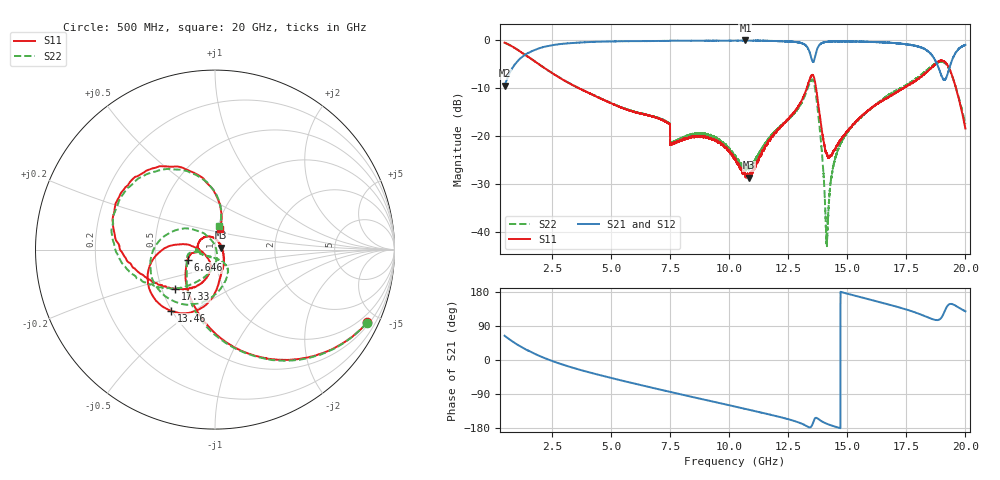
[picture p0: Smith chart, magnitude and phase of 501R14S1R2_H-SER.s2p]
!{501R14S1R2}
!Johanson Technology Inc.
!www.johansontechnology.com
!Test Board Conditions:
!Substrate Type  RO4350B
!Substrate Thickness  20 mil
!Substrate Dk  3.66
!TL Type: GCPW
!TL Trace Width  36 mil
!TL Gap  12 mil
!Electrode orientation  Horizontal
!DUT TOPOLOGY	SERIES
!Mounting Pad LxW  26x36 mil
! Created Wed Mar 11 15:54:02 2020
# mhz S ma R 50
! 2 Port Network Data from SP1.SP block
! freq  magS11  angS11  magS21  angS21  magS12  angS12  magS22  angS22
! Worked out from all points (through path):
!   19501 points, 500 MHz to 20 GHz, reference 50 ohm
!   highest |S21| = -0.07 dB at 10.69 GHz (marker M1); lowest = -9.5 dB at 500 MHz (marker M2)
!   group delay of S21, straight-line fit = 40.5 ps
!   lowest |S11| = -28.6 dB at 10.83 GHz (marker M3), VSWR 1.08, Z = 53.7 + j1.15 ohm
!   |S11| at or under -10 dB: 3.643 GHz to 13.29 GHz (9.643 GHz wide, 114 % of centre); 13.68 GHz to 17.38 GHz (3.705 GHz wide, 23.9 % of centre); 19.6 GHz to end of sweep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
!   |S22| runs from -42.9 to -0.5 dB; largest |S21 - S12| = 0.02
!   S11 on the Smith chart (normalised r, x): 500 MHz: 0.62, -4.33; 6.646 GHz: 0.73, -0.09; 13.46 GHz: 0.49, -0.41; 17.33 GHz: 0.59, -0.28; 20 GHz: 1.03, +0.24
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500  0.9402 -25.5  0.3356 64.0  0.3366 64.1  0.9391 -25.6
2002  0.5504 -79.4  0.8279 10.1  0.8292 10.1  0.5497 -80.0
3750  0.3067 -116.1  0.945 -27.0  0.9458 -27.0  0.3065 -117.6
6646  0.1631 -159.4  0.9776 -71.7  0.9786 -71.7  0.1645 -162.7
7000  0.1535 -163.6  0.979 -76.9  0.9797 -76.9  0.1549 -168.4
7598  0.08228 -172.4  0.9868 -85.5  0.9874 -85.4  0.08535 -173.2
10250  0.05877 84.4  0.9879 -122.8  0.9865 -122.9  0.06302 -146.7
10690  0.03923 37.5  0.9915 -129.1  0.9862 -129.2  0.04507 -113.5
10832  0.03696 16.8  0.9892 -131.2  0.9844 -131.2  0.04571 -97.0
12891  0.1976 -84.9  0.9486 -163.5  0.9533 -163.5  0.1911 -73.6
13465  0.4198 -125.5  0.6707 -176.7  0.6727 -177.2  0.3783 -135.2
13500  0.4317 -132.9  0.6252 -173.6  0.6263 -174.2  0.3853 -145.1
13769  0.2205 172.7  0.8509 -155.3  0.8481 -155.5  0.1713 138.6
14144  0.0646 -157.3  0.9604 -168.5  0.9608 -168.5  0.007778 -1.3
14385  0.06726 -122.3  0.9681 -173.9  0.9714 -173.9  0.04523 -75.2
14751  0.09357 -104.3  0.9716 179.2  0.972 179.2  0.08677 -92.2
16750  0.2541 -123.3  0.9422 146.5  0.9347 146.3  0.269 -128.7
17328  0.3118 -135.4  0.9129 136.6  0.9136 136.4  0.3216 -137.8
18382  0.4692 -168.1  0.7754 113.5  0.7651 113.6  0.4893 -165.0
19089  0.6028 139.0  0.3854 123.7  0.3916 124.2  0.5883 141.8
19540  0.3549 94.4  0.7031 145.0  0.7099 145.2  0.355 94.4
20000  0.12 76.3  0.8922 128.5  0.891 128.6  0.1331 79.4
